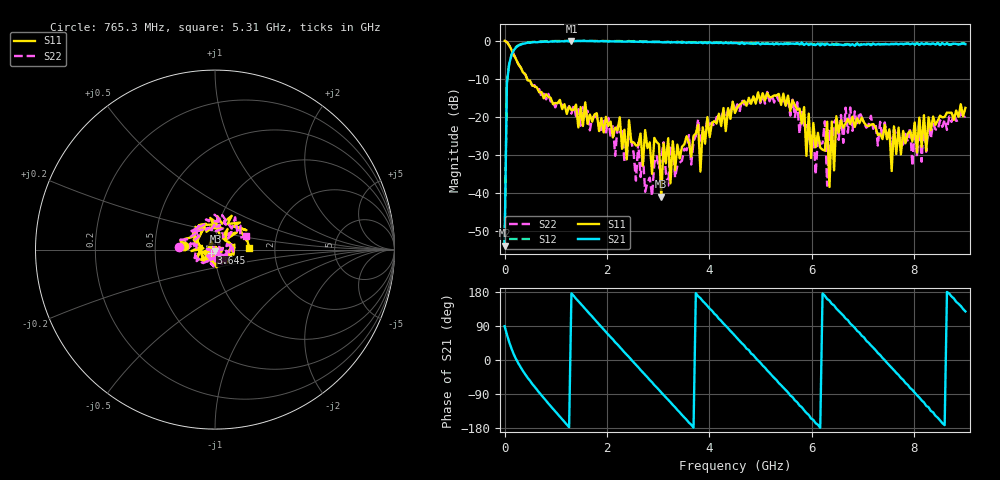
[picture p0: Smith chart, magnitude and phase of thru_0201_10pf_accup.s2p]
!Agilent Technologies,E8358A,US40210021,A.06.04.30
!Agilent E8358A: A.06.04.30
!Date: Sunday, April 15, 2018 12:15:02
!Correction: S11(Full 2 Port(1,2)) S21(Full 2 Port(1,2)) S12(Full 2 Port(1,2)) S22(Full 2 Port(1,2))
!S2P File: Measurements: S11, S21, S12, S22:
# Hz S  RI  R 50
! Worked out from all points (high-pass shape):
!   201 points, 300 kHz to 9 GHz, reference 50 ohm
!   highest |S21| = -0.08 dB at 1.305 GHz (marker M1); lowest = -53.7 dB at 300 kHz (marker M2)
!   |S21| within 3 dB of the highest: 159.3 MHz to end of sweep
!   lowest |S11| = -40.9 dB at 3.06 GHz (marker M3), VSWR 1.02, Z = 50.3 - j0.863 ohm
!   |S11| at or under -10 dB: 438.4 MHz to end of sweep
!   |S22| runs from -40.8 to 0.1 dB; largest |S21 - S12| = 0.06
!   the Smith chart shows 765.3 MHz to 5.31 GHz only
!   S11 on the Smith chart (normalised r, x): 765.3 MHz: 0.70, +0.03; 3.645 GHz: 0.96, -0.04; 5.31 GHz: 1.47, +0.03
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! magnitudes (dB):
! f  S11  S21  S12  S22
! 300 kHz  0.0  -53.7  -53.9  0.1
! 45.3 MHz  -0.4  -11.1  -11.0  -0.3
! 90.3 MHz  -1.3  -6.1  -6.0  -1.2
! 765.3 MHz  -15.1  -0.3  -0.2  -13.9
! 1.305 GHz  -18.2  -0.1  0.0  -19.1
! 1.53 GHz  -22.4  -0.1  0.0  -17.4
! 3.015 GHz  -27.2  -0.3  -0.3  -33.5
! 3.06 GHz  -40.9  -0.4  -0.2  -30.7
! 3.105 GHz  -27.0  -0.5  -0.3  -26.7
! 3.645 GHz  -30.4  -0.6  -0.5  -32.5
! 4.5 GHz  -19.0  -0.6  -0.5  -18.5
! 5.31 GHz  -14.4  -0.8  -0.6  -14.4
! 6.03 GHz  -21.6  -1.1  -1.0  -23.1
! 6.075 GHz  -28.0  -1.1  -0.8  -35.1
! 6.255 GHz  -28.8  -1.2  -0.8  -21.1
! 6.3 GHz  -21.2  -0.8  -0.8  -38.1
! 6.345 GHz  -38.4  -1.1  -1.0  -23.2
! 6.48 GHz  -19.8  -1.1  -0.7  -20.5
! 7.515 GHz  -23.3  -1.0  -0.9  -23.7
! 7.56 GHz  -34.2  -0.9  -0.8  -28.7
! 7.605 GHz  -22.5  -0.9  -0.9  -23.1
! 9 GHz  -17.6  -0.9  -0.9  -19.8
